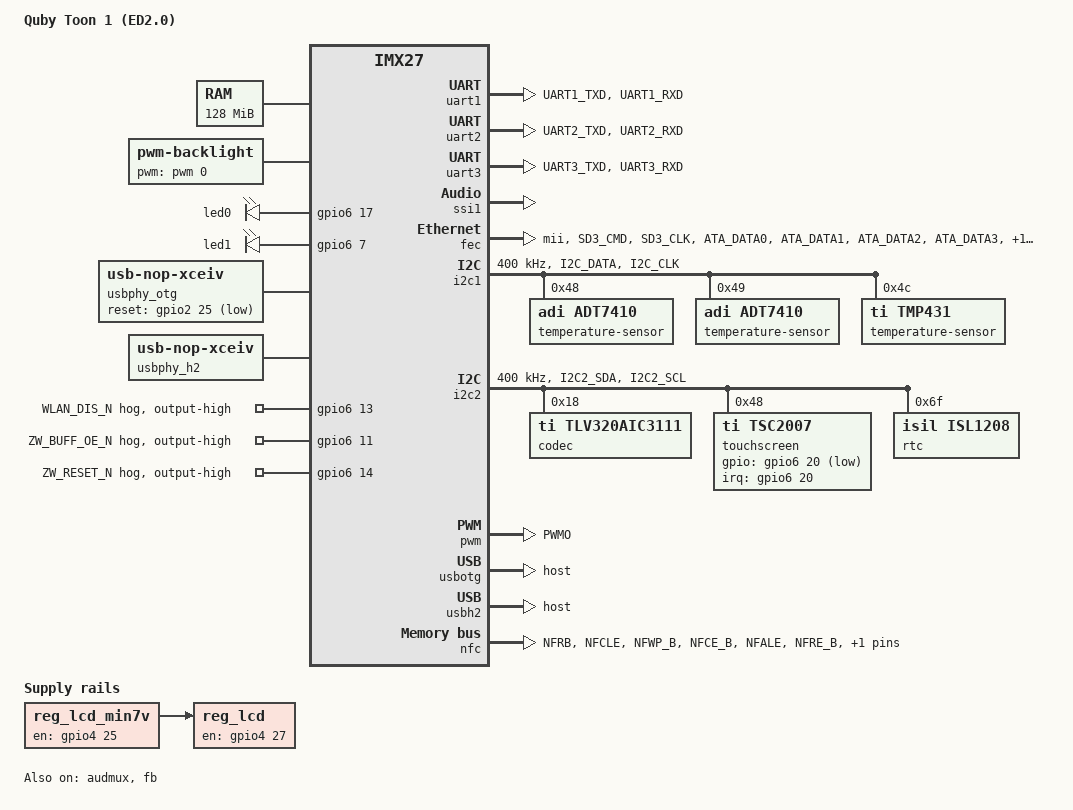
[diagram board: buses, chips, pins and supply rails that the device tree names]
// SPDX-License-Identifier: GPL-2.0-or-later
/*
 * Toon 1 (Prodrive "ED2.0"): i.MX27, 128 MiB RAM, 128 MiB NAND,
 * 800x480 TM070RDH11 panel with TSC2007 touch, RT5370 USB WiFi.
 *
 * Bring-up state: the NAND partitions are all read-only on purpose,
 * so nothing written by the original system can be touched yet.
 */

/dts-v1/;
#include <arm/nxp/imx/imx27.dtsi>
#include <dt-bindings/sound/fsl-imx-audmux.h>

/ {
	model = "Quby Toon 1 (ED2.0)";
	compatible = "quby,toon1", "fsl,imx27";

	memory@a0000000 {
		device_type = "memory";
		reg = <0xa0000000 0x08000000>;
	};

	chosen {
		/* U-Boot's command line is ignored (the Toon's U-Boot passes its own);
		 * panic=10: a start that fails restarts, into the original system.
		 * No ubi.mtd=: the boot manager attaches UBI with the VID header
		 * offset the flash itself was formatted with (512 or 2048) */
		bootargs = "console=ttymxc0,115200 panic=10";
		stdout-path = &uart1;
	};

	reserved-memory {
		#address-cells = <1>;
		#size-cells = <1>;
		ranges;

		/* U-Boot's splash picture (800x480, 16 bpp): left alone, it stays
		 * on the panel until the framebuffer driver takes over */
		splash@a1400000 {
			reg = <0xa1400000 0xbc000>;
			no-map;
		};
	};

	display0: display0 {
		model = "TM070RDH11";
		bits-per-pixel = <16>;
		/* As U-Boot sets it (PCR 0xcae80086 there): TFT, colour,
		 * FLM/LP active low, CLKPOL, SCLKIDLE, SCLKSEL; the driver adds
		 * the colour depth and the clock divider */
		fsl,pcr = <0xc0e80080>;

		display-timings {
			native-mode = <&timing0>;
			timing0: timing0 {
				clock-frequency = <20000000>;
				hactive = <800>;
				vactive = <480>;
				hback-porch = <40>;
				hfront-porch = <88>;
				hsync-len = <48>;
				vback-porch = <30>;
				vfront-porch = <13>;
				vsync-len = <3>;
			};
		};
	};

	backlight: backlight {
		compatible = "pwm-backlight";
		pwms = <&pwm 0 1000000 0>;
		brightness-levels = <0 100>;
		num-interpolated-steps = <100>;
		default-brightness-level = <50>;
	};

	/* The panel's two bias rails, switched on in this order */
	reg_lcd_min7v: regulator-lcd-min7v {
		compatible = "regulator-fixed";
		pinctrl-names = "default";
		pinctrl-0 = <&pinctrl_lcd_min7v>;
		regulator-name = "EN_MIN7V";
		gpio = <&gpio4 25 GPIO_ACTIVE_HIGH>;
		enable-active-high;
		startup-delay-us = <50000>;
		regulator-boot-on;
		/* U-Boot powers the panel; once switched off it stays white */
		regulator-always-on;
	};

	reg_lcd: regulator-lcd {
		compatible = "regulator-fixed";
		pinctrl-names = "default";
		pinctrl-0 = <&pinctrl_lcd_16v>;
		regulator-name = "EN_16V_10V4";
		gpio = <&gpio4 27 GPIO_ACTIVE_HIGH>;
		enable-active-high;
		vin-supply = <&reg_lcd_min7v>;
		startup-delay-us = <50000>;
		regulator-boot-on;
		regulator-always-on;
	};

	leds {
		compatible = "gpio-leds";
		pinctrl-names = "default";
		pinctrl-0 = <&pinctrl_leds>;

		led-0 {
			label = "led0";
			gpios = <&gpio6 17 GPIO_ACTIVE_HIGH>;
			linux,default-trigger = "heartbeat";
		};

		led-1 {
			label = "led1";
			gpios = <&gpio6 7 GPIO_ACTIVE_HIGH>;
		};
	};

	/* ULPI PHYs of the two USB ports in use */
	usbphy_otg: usbphy-otg {
		compatible = "usb-nop-xceiv";
		clocks = <&clks IMX27_CLK_DUMMY>;
		clock-names = "main_clk";
		reset-gpios = <&gpio2 25 GPIO_ACTIVE_LOW>;	/* USB1_RESET_N */
		#phy-cells = <0>;
	};

	usbphy_h2: usbphy-h2 {
		compatible = "usb-nop-xceiv";
		clocks = <&clks IMX27_CLK_DUMMY>;
		clock-names = "main_clk";
		#phy-cells = <0>;
	};

	/* TLV320AIC3111 on SSI1 through the audio mux (SSI3 pads). As in the
	 * original software: 12 MHz master clock from GPT1's TOUT pin, the
	 * codec makes bit clock and frame sync */
	sound {
		compatible = "simple-audio-card";
		simple-audio-card,name = "Toon1";
		simple-audio-card,format = "i2s";
		simple-audio-card,bitclock-master = <&snd_codec>;
		simple-audio-card,frame-master = <&snd_codec>;
		simple-audio-card,widgets = "Speaker", "Speaker";
		simple-audio-card,routing = "Speaker", "SPL", "Speaker", "SPR";

		snd_cpu: simple-audio-card,cpu {
			sound-dai = <&ssi1>;
		};

		snd_codec: simple-audio-card,codec {
			sound-dai = <&codec>;
			clocks = <&gpt1>;
		};
	};
};

&uart1 {	/* console, ttymxc0 */
	pinctrl-names = "default";
	pinctrl-0 = <&pinctrl_uart1>;
	status = "okay";
};

&uart2 {	/* boiler module, ttymxc1 */
	pinctrl-names = "default";
	pinctrl-0 = <&pinctrl_uart2>;
	status = "okay";
};

&uart3 {	/* Z-Wave, ttymxc2 */
	pinctrl-names = "default";
	pinctrl-0 = <&pinctrl_uart3>;
	status = "okay";
};

&ssi1 {
	clocks = <&clks IMX27_CLK_SSI1_IPG_GATE>, <&clks IMX27_CLK_SSI1_BAUD_GATE>;
	clock-names = "ipg", "baud";
	/* DMA does not start on this SSI (TX FIFO stays empty); feed it from
	 * a FIQ handler like the original i.MX27 audio code */
	fsl,fiq-stream-filter;
	status = "okay";
};

/* GPT1 is the codec's clock (TOUT); the system timer is GPT2 then */
&gpt1 {
	compatible = "quby,toon1-gpt-mclk";
	#clock-cells = <0>;
	pinctrl-names = "default";
	pinctrl-0 = <&pinctrl_tout>;
};

&audmux {
	pinctrl-names = "default";
	pinctrl-0 = <&pinctrl_audmux>;
	status = "okay";

	/* SSI1: clock, frame sync and data from the codec pins (the values
	 * the original software wrote) */
	ssi1-port {
		fsl,audmux-port = <MX27_AUDMUX_HPCR1_SSI0>;
		fsl,port-config = <(IMX_AUDMUX_V1_PCR_TFSDIR |
				    IMX_AUDMUX_V1_PCR_TCLKDIR |
				    IMX_AUDMUX_V1_PCR_TFCSEL(MX27_AUDMUX_PPCR3_SSI_PINS_3) |
				    IMX_AUDMUX_V1_PCR_RFSDIR |
				    IMX_AUDMUX_V1_PCR_RCLKDIR |
				    IMX_AUDMUX_V1_PCR_RFCSEL(MX27_AUDMUX_PPCR3_SSI_PINS_3) |
				    IMX_AUDMUX_V1_PCR_RXDSEL(MX27_AUDMUX_PPCR3_SSI_PINS_3) |
				    IMX_AUDMUX_V1_PCR_SYN)>;
	};

	/* SSI3 pads to the codec: data from SSI1 */
	codec-port {
		fsl,audmux-port = <MX27_AUDMUX_PPCR3_SSI_PINS_3>;
		fsl,port-config = <IMX_AUDMUX_V1_PCR_SYN>;
	};
};

&fec {
	pinctrl-names = "default";
	pinctrl-0 = <&pinctrl_fec>;
	phy-mode = "mii";
	phy-reset-gpios = <&gpio1 25 GPIO_ACTIVE_LOW>;	/* ETH_RST_N */
	status = "okay";
};

&i2c1 {
	clock-frequency = <400000>;
	pinctrl-names = "default";
	pinctrl-0 = <&pinctrl_i2c1>;
	status = "okay";

	temperature-sensor@48 {
		compatible = "adi,adt7410";
		reg = <0x48>;
	};

	temperature-sensor@49 {
		compatible = "adi,adt7410";
		reg = <0x49>;
	};

	temperature-sensor@4c {
		compatible = "ti,tmp431";
		reg = <0x4c>;
	};
};

&i2c2 {
	clock-frequency = <400000>;
	pinctrl-names = "default";
	pinctrl-0 = <&pinctrl_i2c2>;
	status = "okay";

	codec: audio-codec@18 {
		compatible = "ti,tlv320aic3111";
		reg = <0x18>;
		#sound-dai-cells = <0>;
	};

	touchscreen@48 {
		compatible = "ti,tsc2007";
		reg = <0x48>;
		pinctrl-names = "default";
		pinctrl-0 = <&pinctrl_touch>;
		interrupt-parent = <&gpio6>;
		interrupts = <20 IRQ_TYPE_EDGE_FALLING>;
		gpios = <&gpio6 20 GPIO_ACTIVE_LOW>;
		ti,x-plate-ohms = <780>;
	};

	rtc@6f {
		compatible = "isil,isl1208";
		reg = <0x6f>;
	};
};

&pwm {
	pinctrl-names = "default";
	pinctrl-0 = <&pinctrl_pwm>;
	status = "okay";
};

&fb {
	pinctrl-names = "default";
	pinctrl-0 = <&pinctrl_lcd>;
	display = <&display0>;
	lcd-supply = <&reg_lcd>;
	fsl,dmacr = <0x00020010>;
	fsl,lscr1 = <0x400c0373>;	/* as U-Boot */
	/* margins and sync lengths as U-Boot set them for the fitted panel
	 * (TM070RDH11 or TDA-WVGA0700F00048, see the imxfb patch) */
	fsl,keep-bootloader-timing;
	status = "okay";
};

&usbotg {	/* the external USB port */
	/* held as GPIOs until the controller is in ULPI mode, like host 2;
	 * the PHY switches the port's 5 V */
	pinctrl-names = "default", "ulpi";
	pinctrl-0 = <&pinctrl_usbotg_hold>;
	pinctrl-1 = <&pinctrl_usbotg>;
	ulpi-stp-gpios = <&gpio5 1 GPIO_ACTIVE_HIGH>;
	ulpi-data-gpios = <&gpio3 9 GPIO_ACTIVE_HIGH>, <&gpio3 11 GPIO_ACTIVE_HIGH>,
			  <&gpio3 10 GPIO_ACTIVE_HIGH>, <&gpio3 13 GPIO_ACTIVE_HIGH>,
			  <&gpio3 12 GPIO_ACTIVE_HIGH>, <&gpio3 7 GPIO_ACTIVE_HIGH>,
			  <&gpio3 8 GPIO_ACTIVE_HIGH>, <&gpio5 25 GPIO_ACTIVE_HIGH>;
	retoon,ulpi-drive-vbus;
	dr_mode = "host";
	phy_type = "ulpi";
	fsl,usbphy = <&usbphy_otg>;
	disable-over-current;
	status = "okay";
};

&usbh2 {	/* RT5370 WiFi */
	/* PHY sees the bus only after the controller is in ULPI mode (see the
	 * ci_hdrc_imx patch): "default" holds the pins as GPIOs */
	pinctrl-names = "default", "ulpi";
	pinctrl-0 = <&pinctrl_usbh2_hold>;
	pinctrl-1 = <&pinctrl_usbh2>;
	ulpi-stp-gpios = <&gpio1 4 GPIO_ACTIVE_HIGH>;
	ulpi-data-gpios = <&gpio4 22 GPIO_ACTIVE_HIGH>, <&gpio4 24 GPIO_ACTIVE_HIGH>,
			  <&gpio4 23 GPIO_ACTIVE_HIGH>, <&gpio4 20 GPIO_ACTIVE_HIGH>,
			  <&gpio4 19 GPIO_ACTIVE_HIGH>, <&gpio4 26 GPIO_ACTIVE_HIGH>,
			  <&gpio4 21 GPIO_ACTIVE_HIGH>, <&gpio1 2 GPIO_ACTIVE_HIGH>;
	dr_mode = "host";
	phy_type = "ulpi";
	fsl,usbphy = <&usbphy_h2>;
	disable-over-current;
	status = "okay";
};

&nfc {
	pinctrl-names = "default";
	pinctrl-0 = <&pinctrl_nfc>;
	nand-bus-width = <8>;
	nand-ecc-mode = "hw";
	status = "okay";

	/* Same layout as the original system. Writable: the two partitions ReToon
	 * boots from (kernel + its initrd) and the original UBI with our files;
	 * U-Boot, its environment and the splash stay read-only. */
	partitions {
		compatible = "fixed-partitions";
		#address-cells = <1>;
		#size-cells = <1>;

		partition@0 {
			label = "u-boot";
			reg = <0x00000000 0x00100000>;
			read-only;
		};

		partition@100000 {
			label = "u-boot-env";
			reg = <0x00100000 0x00080000>;
		};

		/* U-Boot's start-up picture (a BMP): writable, so that with
		   "Always start ReToon" ReToon's own goes there (toon-bootsplash,
		   which keeps the original on the data partition) */
		partition@180000 {
			label = "splash-image";
			reg = <0x00180000 0x00180000>;
		};

		partition@300000 {
			label = "kernel";
			reg = <0x00300000 0x00300000>;
		};

		partition@600000 {
			label = "kernel-backup";
			reg = <0x00600000 0x00300000>;
		};

		partition@900000 {
			/* the original UBI/UBIFS; ReToon keeps its files in mnt/data/toon-os */
			label = "rootfs";
			reg = <0x00900000 0x07700000>;
		};
	};
};

&gpio6 {
	/* WiFi dongle and Z-Wave chip kept running, as the original system does */
	wlan-enable-hog {
		gpio-hog;
		gpios = <13 GPIO_ACTIVE_HIGH>;	/* WLAN_DIS_N */
		output-high;
		line-name = "WLAN_DIS_N";
	};

	zwave-buffer-hog {
		gpio-hog;
		gpios = <11 GPIO_ACTIVE_HIGH>;	/* ZW_BUFF_OE_N: SPI buffer off */
		output-high;
		line-name = "ZW_BUFF_OE_N";
	};

	zwave-reset-hog {
		gpio-hog;
		gpios = <14 GPIO_ACTIVE_HIGH>;	/* ZW_RESET_N */
		output-high;
		line-name = "ZW_RESET_N";
	};
};

&iomuxc {
	toon1 {
		pinctrl_tout: toutgrp {
			fsl,pins = <
				MX27_PAD_TOUT__TOUT		0x0
			>;
		};

		pinctrl_audmux: audmuxgrp {
			fsl,pins = <
				MX27_PAD_SSI3_FS__SSI3_FS	0x0
				MX27_PAD_SSI3_RXDAT__SSI3_RXDAT	0x0
				MX27_PAD_SSI3_TXDAT__SSI3_TXDAT	0x0
				MX27_PAD_SSI3_CLK__SSI3_CLK	0x0
			>;
		};

		pinctrl_uart1: uart1grp {
			fsl,pins = <
				MX27_PAD_UART1_TXD__UART1_TXD	0x0
				MX27_PAD_UART1_RXD__UART1_RXD	0x0
			>;
		};

		pinctrl_uart2: uart2grp {
			fsl,pins = <
				MX27_PAD_UART2_TXD__UART2_TXD	0x0
				MX27_PAD_UART2_RXD__UART2_RXD	0x0
			>;
		};

		pinctrl_uart3: uart3grp {
			fsl,pins = <
				MX27_PAD_UART3_TXD__UART3_TXD	0x0
				MX27_PAD_UART3_RXD__UART3_RXD	0x0
			>;
		};

		pinctrl_fec: fecgrp {
			fsl,pins = <
				MX27_PAD_SD3_CMD__FEC_TXD0	0x0
				MX27_PAD_SD3_CLK__FEC_TXD1	0x0
				MX27_PAD_ATA_DATA0__FEC_TXD2	0x0
				MX27_PAD_ATA_DATA1__FEC_TXD3	0x0
				MX27_PAD_ATA_DATA2__FEC_RX_ER	0x0
				MX27_PAD_ATA_DATA3__FEC_RXD1	0x0
				MX27_PAD_ATA_DATA4__FEC_RXD2	0x0
				MX27_PAD_ATA_DATA5__FEC_RXD3	0x0
				MX27_PAD_ATA_DATA6__FEC_MDIO	0x0
				MX27_PAD_ATA_DATA7__FEC_MDC	0x0
				MX27_PAD_ATA_DATA8__FEC_CRS	0x0
				MX27_PAD_ATA_DATA9__FEC_TX_CLK	0x0
				MX27_PAD_ATA_DATA10__FEC_RXD0	0x0
				MX27_PAD_ATA_DATA11__FEC_RX_DV	0x0
				MX27_PAD_ATA_DATA12__FEC_RX_CLK	0x0
				MX27_PAD_ATA_DATA13__FEC_COL	0x0
				MX27_PAD_ATA_DATA14__FEC_TX_ER	0x0
				MX27_PAD_ATA_DATA15__FEC_TX_EN	0x0
				MX27_PAD_CLS__GPIO1_25		0x0	/* ETH_RST_N */
			>;
		};

		pinctrl_i2c1: i2c1grp {
			fsl,pins = <
				MX27_PAD_I2C_DATA__I2C_DATA	0x0
				MX27_PAD_I2C_CLK__I2C_CLK	0x0
			>;
		};

		pinctrl_i2c2: i2c2grp {
			fsl,pins = <
				MX27_PAD_I2C2_SDA__I2C2_SDA	0x0
				MX27_PAD_I2C2_SCL__I2C2_SCL	0x0
			>;
		};

		pinctrl_touch: touchgrp {
			fsl,pins = <
				MX27_PAD_PC_CD1_B__GPIO6_20	0x0	/* TS_PENIRQ */
			>;
		};

		pinctrl_pwm: pwmgrp {
			fsl,pins = <
				MX27_PAD_PWMO__PWMO		0x0
			>;
		};

		pinctrl_lcd: lcdgrp {
			fsl,pins = <
				MX27_PAD_LSCLK__LSCLK		0x0
				MX27_PAD_LD0__LD0		0x0
				MX27_PAD_LD1__LD1		0x0
				MX27_PAD_LD2__LD2		0x0
				MX27_PAD_LD3__LD3		0x0
				MX27_PAD_LD4__LD4		0x0
				MX27_PAD_LD5__LD5		0x0
				MX27_PAD_LD6__LD6		0x0
				MX27_PAD_LD7__LD7		0x0
				MX27_PAD_LD8__LD8		0x0
				MX27_PAD_LD9__LD9		0x0
				MX27_PAD_LD10__LD10		0x0
				MX27_PAD_LD11__LD11		0x0
				MX27_PAD_LD12__LD12		0x0
				MX27_PAD_LD13__LD13		0x0
				MX27_PAD_LD14__LD14		0x0
				MX27_PAD_LD15__LD15		0x0
				MX27_PAD_LD16__LD16		0x0
				MX27_PAD_LD17__LD17		0x0
				MX27_PAD_HSYNC__HSYNC		0x0
				MX27_PAD_VSYNC__VSYNC		0x0
				MX27_PAD_OE_ACD__OE_ACD		0x0
			>;
		};

		/* Panel rails: GPIO *output* (mux 0x036). The 0x032 of the
		 * GPIOx_y macros means input, and applying that turns the rails
		 * off again: the screen goes white. */
		pinctrl_lcd_min7v: lcdmin7vgrp {
			fsl,pins = <0x79 0x036 0x0>;	/* PD25 EN_MIN7V */
		};

		pinctrl_lcd_16v: lcd16vgrp {
			fsl,pins = <0x7b 0x036 0x0>;	/* PD27 EN_16V_10V4 */
		};

		pinctrl_leds: ledsgrp {
			fsl,pins = <
				MX27_PAD_PC_READY__GPIO6_17	0x0
				MX27_PAD_PC_POE__GPIO6_7	0x0
			>;
		};

		pinctrl_hogs: hogsgrp {
			fsl,pins = <
				MX27_PAD_PC_VS2__GPIO6_13	0x0	/* WLAN_DIS_N */
				MX27_PAD_PC_BVD2__GPIO6_11	0x0	/* ZW_BUFF_OE_N */
				MX27_PAD_PC_VS1__GPIO6_14	0x0	/* ZW_RESET_N */
				MX27_PAD_USBH1_RCV__GPIO2_25	0x0	/* USB1_RESET_N */
			>;
		};

		/* OTG ULPI pins as GPIOs: CLK, DIR, NXT in (0x032), STP and
		 * DATA0-7 out (0x036); values come from the ulpi-*-gpios */
		pinctrl_usbotg_hold: usbotgholdgrp {
			fsl,pins = <
				0x98 0x032 0x0	/* PE24 CLK */
				0x82 0x032 0x0	/* PE2 DIR */
				0x80 0x032 0x0	/* PE0 NXT */
				0x81 0x036 0x0	/* PE1 STP */
				0x49 0x036 0x0	/* PC9 DATA0 */
				0x4b 0x036 0x0	/* PC11 DATA1 */
				0x4a 0x036 0x0	/* PC10 DATA2 */
				0x4d 0x036 0x0	/* PC13 DATA3 */
				0x4c 0x036 0x0	/* PC12 DATA4 */
				0x47 0x036 0x0	/* PC7 DATA5 */
				0x48 0x036 0x0	/* PC8 DATA6 */
				0x99 0x036 0x0	/* PE25 DATA7 */
			>;
		};

		pinctrl_usbotg: usbotggrp {
			fsl,pins = <
				MX27_PAD_USBOTG_CLK__USBOTG_CLK		0x0
				MX27_PAD_USBOTG_DIR__USBOTG_DIR		0x0
				MX27_PAD_USBOTG_NXT__USBOTG_NXT		0x0
				MX27_PAD_USBOTG_STP__USBOTG_STP		0x0
				MX27_PAD_USBOTG_DATA0__USBOTG_DATA0	0x0
				MX27_PAD_USBOTG_DATA1__USBOTG_DATA1	0x0
				MX27_PAD_USBOTG_DATA2__USBOTG_DATA2	0x0
				MX27_PAD_USBOTG_DATA3__USBOTG_DATA3	0x0
				MX27_PAD_USBOTG_DATA4__USBOTG_DATA4	0x0
				MX27_PAD_USBOTG_DATA5__USBOTG_DATA5	0x0
				MX27_PAD_USBOTG_DATA6__USBOTG_DATA6	0x0
				MX27_PAD_USBOTG_DATA7__USBOTG_DATA7	0x0
			>;
		};

		/* host 2 ULPI pins as GPIOs: CLK, DIR, NXT in (0x032), STP and
		 * DATA0-7 out (0x036); values come from the ulpi-*-gpios */
		pinctrl_usbh2_hold: usbh2holdgrp {
			fsl,pins = <
				0x00 0x032 0x0	/* PA0 CLK */
				0x01 0x032 0x0	/* PA1 DIR */
				0x03 0x032 0x0	/* PA3 NXT */
				0x04 0x036 0x0	/* PA4 STP */
				0x76 0x036 0x0	/* PD22 DATA0 */
				0x78 0x036 0x0	/* PD24 DATA1 */
				0x77 0x036 0x0	/* PD23 DATA2 */
				0x74 0x036 0x0	/* PD20 DATA3 */
				0x73 0x036 0x0	/* PD19 DATA4 */
				0x7a 0x036 0x0	/* PD26 DATA5 */
				0x75 0x036 0x0	/* PD21 DATA6 */
				0x02 0x036 0x0	/* PA2 DATA7 */
			>;
		};

		pinctrl_usbh2: usbh2grp {
			fsl,pins = <
				MX27_PAD_USBH2_CLK__USBH2_CLK		0x0
				MX27_PAD_USBH2_DIR__USBH2_DIR		0x0
				MX27_PAD_USBH2_NXT__USBH2_NXT		0x0
				MX27_PAD_USBH2_STP__USBH2_STP		0x0
				MX27_PAD_CSPI2_SCLK__USBH2_DATA0	0x0
				MX27_PAD_CSPI2_MOSI__USBH2_DATA1	0x0
				MX27_PAD_CSPI2_MISO__USBH2_DATA2	0x0
				MX27_PAD_CSPI2_SS1__USBH2_DATA3		0x0
				MX27_PAD_CSPI2_SS2__USBH2_DATA4		0x0
				MX27_PAD_CSPI1_SS2__USBH2_DATA5		0x0
				MX27_PAD_CSPI2_SS0__USBH2_DATA6		0x0
				MX27_PAD_USBH2_DATA7__USBH2_DATA7	0x0
			>;
		};

		pinctrl_nfc: nfcgrp {
			fsl,pins = <
				MX27_PAD_NFRB__NFRB		0x0
				MX27_PAD_NFCLE__NFCLE		0x0
				MX27_PAD_NFWP_B__NFWP_B		0x0
				MX27_PAD_NFCE_B__NFCE_B		0x0
				MX27_PAD_NFALE__NFALE		0x0
				MX27_PAD_NFRE_B__NFRE_B		0x0
				MX27_PAD_NFWE_B__NFWE_B		0x0
			>;
		};
	};
};

&iomuxc {
	pinctrl-names = "default";
	pinctrl-0 = <&pinctrl_hogs>;
};
